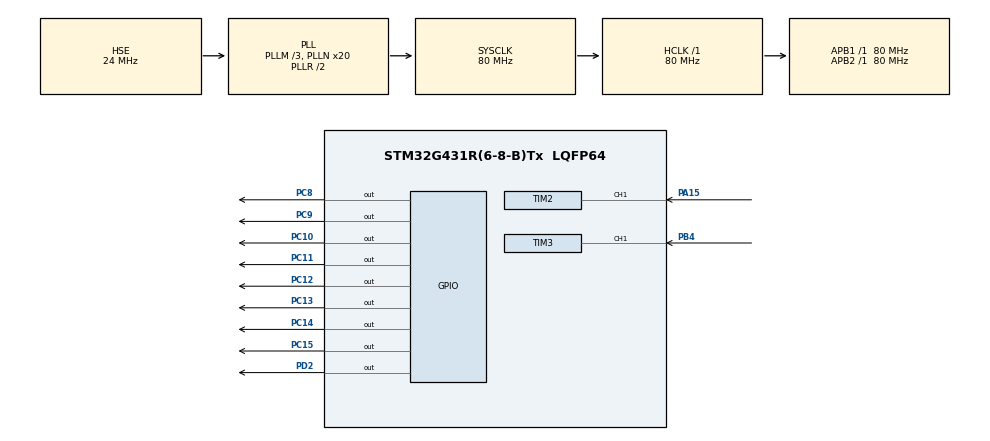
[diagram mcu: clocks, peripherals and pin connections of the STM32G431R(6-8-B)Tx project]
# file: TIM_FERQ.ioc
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Mcu.Family=STM32G4
Mcu.Name=STM32G431R(6-8-B)Tx
Mcu.Package=LQFP64
NVIC.PriorityGroup=NVIC_PRIORITYGROUP_4
NVIC.TIM2_IRQn=true\:0\:0\:false\:false\:true\:true\:true
NVIC.TIM3_IRQn=true\:0\:0\:false\:false\:true\:true\:true
PA13.Mode=Serial_Wire
PA13.Signal=SYS_JTMS-SWDIO
PA14.Mode=Serial_Wire
PA14.Signal=SYS_JTCK-SWCLK
PA15.Signal=S_TIM2_CH1
PB4.Signal=S_TIM3_CH1
PC10.Signal=GPIO_Output
PC11.Signal=GPIO_Output
PC12.Signal=GPIO_Output
PC13.Signal=GPIO_Output
PC14-OSC32_IN.Signal=GPIO_Output
PC15-OSC32_OUT.Signal=GPIO_Output
PC8.Signal=GPIO_Output
PC9.Signal=GPIO_Output
PD2.Signal=GPIO_Output
PF0-OSC_IN.Mode=HSE-External-Oscillator
PF0-OSC_IN.Signal=RCC_OSC_IN
PF1-OSC_OUT.Mode=HSE-External-Oscillator
PF1-OSC_OUT.Signal=RCC_OSC_OUT
ProjectManager.HeapSize=0x200
ProjectManager.StackSize=0x400
ProjectManager.TargetToolchain=MDK-ARM V5.27
RCC.ADC12Freq_Value=80000000
RCC.AHBFreq_Value=80000000
RCC.APB1Freq_Value=80000000
RCC.APB1TimFreq_Value=80000000
RCC.APB2Freq_Value=80000000
RCC.APB2TimFreq_Value=80000000
RCC.CortexFreq_Value=80000000
RCC.EXTERNAL_CLOCK_VALUE=12288000
RCC.HCLKFreq_Value=80000000
RCC.HSE_VALUE=24000000
RCC.HSI48_VALUE=48000000
RCC.HSI_VALUE=16000000
RCC.LSE_VALUE=32768
RCC.PLLM=RCC_PLLM_DIV3
RCC.PLLN=20
RCC.PLLSourceVirtual=RCC_PLLSOURCE_HSE
RCC.SYSCLKFreq_VALUE=80000000
RCC.SYSCLKSource=RCC_SYSCLKSOURCE_PLLCLK
RCC.USBFreq_Value=80000000
RCC.VCOOutputFreq_Value=160000000
SH.S_TIM2_CH1.0=TIM2_CH1,Input_Capture1_from_TI1
SH.S_TIM3_CH1.0=TIM3_CH1,Input_Capture1_from_TI1
TIM2.Channel-Input_Capture1_from_TI1=TIM_CHANNEL_1
TIM2.PeriodNoDither=0xffff
TIM2.Prescaler=79
TIM3.Channel-Input_Capture1_from_TI1=TIM_CHANNEL_1
TIM3.PeriodNoDither=0xffff
TIM3.Prescaler=79
VP_SYS_VS_DBSignals.Mode=DisableDeadBatterySignals
VP_TIM2_VS_ClockSourceINT.Mode=Internal
VP_TIM3_VS_ClockSourceINT.Mode=Internal
board=custom

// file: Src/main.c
/* USER CODE BEGIN Header */
/**
  ******************************************************************************
  * @file           : main.c
  * @brief          : Main program body
  ******************************************************************************
  * @attention
  *
  * <h2><center>&copy; Copyright (c) 2023 STMicroelectronics.
  * All rights reserved.</center></h2>
  *
  * This software component is licensed by ST under BSD 3-Clause license,
  * the "License"; You may not use this file except in compliance with the
  * License. You may obtain a copy of the License at:
  *                        opensource.org/licenses/BSD-3-Clause
  *
  ******************************************************************************
  */
/* USER CODE END Header */

#include "main.h"
#include "tim.h"
#include "gpio.h"

/* USER CODE BEGIN Includes */
#include "lcd_hal.h"
#include <stdio.h>
/* USER CODE END Includes */

/* USER CODE BEGIN PV */
char Lcd_Line1[20];
char Lcd_Line2[20];
char Lcd_Line4[20];
char Lcd_Line5[20];
uint16_t Ic_value1=0;
uint16_t Fre_Test1=0;
uint16_t Ic_value2=0;
uint16_t Fre_Test2=0;
/* USER CODE END PV */

void SystemClock_Config(void);
/* USER CODE BEGIN PFP */
void CloseLed(void);
/* USER CODE END PFP */

/* USER CODE BEGIN 0 */
void HAL_TIM_IC_CaptureCallback(TIM_HandleTypeDef *htim)
{
	if(htim->Instance==TIM3)
	{
		Ic_value1=__HAL_TIM_GET_COUNTER(&htim3);
		__HAL_TIM_SetCounter(&htim3,0);
		Fre_Test1 = 1000000/(Ic_value1+1);
	}

	if(htim->Instance==TIM2)
	{
		Ic_value2=__HAL_TIM_GET_COUNTER(&htim2);
		__HAL_TIM_SetCounter(&htim2,0);
		Fre_Test2 = 1000000/(Ic_value2+1);
	}
}
/* USER CODE END 0 */

int main(void)
{

  /* MCU Configuration--------------------------------------------------------*/

  /* Reset of all peripherals, Initializes the Flash interface and the Systick. */
  HAL_Init();

  /* Configure the system clock */
  SystemClock_Config();

  /* Initialize all configured peripherals */
  MX_GPIO_Init();
  MX_TIM3_Init();
  MX_TIM2_Init();
  /* USER CODE BEGIN 2 */
  HAL_TIM_IC_Start_IT(&htim3,TIM_CHANNEL_1);
  HAL_TIM_IC_Start_IT(&htim2,TIM_CHANNEL_1);
  CloseLed();
  LCD_Init();
  LCD_Clear(Black);
  LCD_SetTextColor(White);
  LCD_SetBackColor(Black);
  LCD_DisplayStringLine(Line0, "measure the freq PB4");
  LCD_DisplayStringLine(Line3, "measure thefreq PA15");
  /* USER CODE END 2 */

  /* Infinite loop */
  /* USER CODE BEGIN WHILE */
  while (1)
  {

	sprintf(Lcd_Line2,"FREQ1:%d       ",Fre_Test1);
    LCD_DisplayStringLine(Line2, (uint8_t*)Lcd_Line2);
	sprintf(Lcd_Line1,"CNT1:%d        ",Ic_value1);
    LCD_DisplayStringLine(Line1, (uint8_t*)Lcd_Line1);

	  sprintf(Lcd_Line5,"FREQ2:%d       ",Fre_Test2);
    LCD_DisplayStringLine(Line5, (uint8_t*)Lcd_Line5);
	sprintf(Lcd_Line4,"CNT2:%d        ",Ic_value2);
    LCD_DisplayStringLine(Line4, (uint8_t*)Lcd_Line4);
	HAL_Delay(500);
    /* USER CODE END WHILE */

  }
}

void SystemClock_Config(void)
{
  RCC_OscInitTypeDef RCC_OscInitStruct = {0};
  RCC_ClkInitTypeDef RCC_ClkInitStruct = {0};

  /** Configure the main internal regulator output voltage
  */
  HAL_PWREx_ControlVoltageScaling(PWR_REGULATOR_VOLTAGE_SCALE1);
  /** Initializes the CPU, AHB and APB busses clocks
  */
  RCC_OscInitStruct.OscillatorType = RCC_OSCILLATORTYPE_HSE;
  RCC_OscInitStruct.HSEState = RCC_HSE_ON;
  RCC_OscInitStruct.PLL.PLLState = RCC_PLL_ON;
  RCC_OscInitStruct.PLL.PLLSource = RCC_PLLSOURCE_HSE;
  RCC_OscInitStruct.PLL.PLLM = RCC_PLLM_DIV3;
  RCC_OscInitStruct.PLL.PLLN = 20;
  RCC_OscInitStruct.PLL.PLLP = RCC_PLLP_DIV2;
  RCC_OscInitStruct.PLL.PLLQ = RCC_PLLQ_DIV2;
  RCC_OscInitStruct.PLL.PLLR = RCC_PLLR_DIV2;
  if (HAL_RCC_OscConfig(&RCC_OscInitStruct) != HAL_OK)
  {
    Error_Handler();
  }
  /** Initializes the CPU, AHB and APB busses clocks
  */
  RCC_ClkInitStruct.ClockType = RCC_CLOCKTYPE_HCLK|RCC_CLOCKTYPE_SYSCLK
                              |RCC_CLOCKTYPE_PCLK1|RCC_CLOCKTYPE_PCLK2;
  RCC_ClkInitStruct.SYSCLKSource = RCC_SYSCLKSOURCE_PLLCLK;
  RCC_ClkInitStruct.AHBCLKDivider = RCC_SYSCLK_DIV1;
  RCC_ClkInitStruct.APB1CLKDivider = RCC_HCLK_DIV1;
  RCC_ClkInitStruct.APB2CLKDivider = RCC_HCLK_DIV1;

  if (HAL_RCC_ClockConfig(&RCC_ClkInitStruct, FLASH_LATENCY_3) != HAL_OK)
  {
    Error_Handler();
  }
}

/* USER CODE BEGIN 4 */
void CloseLed(void)
{
	HAL_GPIO_WritePin(GPIOC,GPIO_PIN_8 | GPIO_PIN_9 | GPIO_PIN_10 | GPIO_PIN_11 |
						GPIO_PIN_12 | GPIO_PIN_13 | GPIO_PIN_14 | GPIO_PIN_15 ,GPIO_PIN_SET);
	HAL_GPIO_WritePin(GPIOD,GPIO_PIN_2,GPIO_PIN_SET);
	HAL_GPIO_WritePin(GPIOD,GPIO_PIN_2,GPIO_PIN_RESET);
}
/* USER CODE END 4 */

void Error_Handler(void)
{
}

/************************ (C) COPYRIGHT STMicroelectronics *****END OF FILE****/
